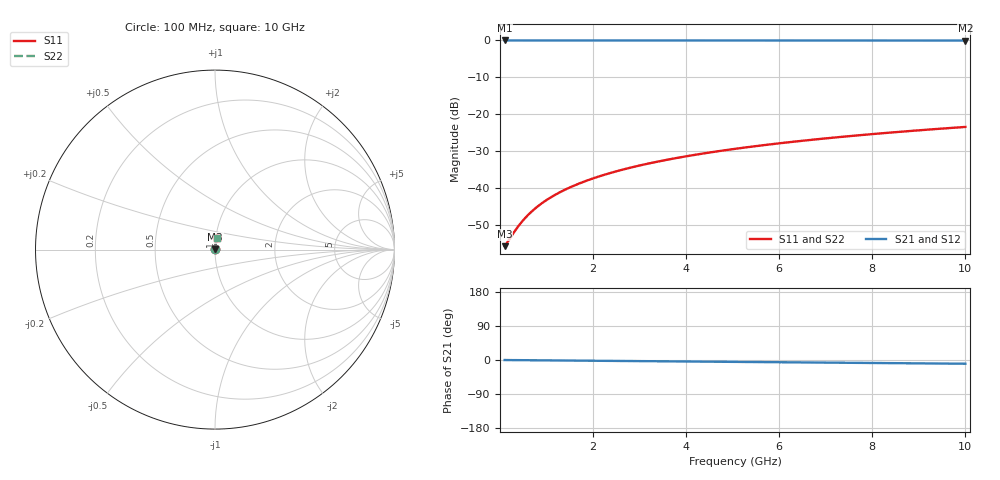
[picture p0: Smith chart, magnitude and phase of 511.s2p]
# Hz S RI R 50.00
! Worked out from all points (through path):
!   100 points, 100 MHz to 10 GHz, reference 50 ohm
!   highest |S21| = -0.01 dB at 100 MHz (marker M1); lowest = 0.0 dB at 10 GHz (marker M2)
!   group delay of S21, straight-line fit = 2.74 ps
!   lowest |S11| = -55.7 dB at 100 MHz (marker M3), VSWR 1.00, Z = 50.2 + j0.0675 ohm
!   |S11| at or under -10 dB: start of sweep to end of sweep
!   |S22| runs from -55.7 to -23.4 dB; largest |S21 - S12| = 0
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1e8  0.00151 0.000673  0.9985 -0.00171  0.9985 -0.00171  0.00151 0.000673
2e8  0.00152 0.00135  0.9985 -0.00342  0.9985 -0.00342  0.00152 0.00135
3e8  0.00153 0.00202  0.9985 -0.00512  0.9985 -0.00512  0.00153 0.00202
4e8  0.00154 0.00269  0.9984 -0.00683  0.9984 -0.00683  0.00154 0.00269
5e8  0.00156 0.00337  0.9984 -0.00854  0.9984 -0.00854  0.00156 0.00337
6e8  0.00158 0.00404  0.9984 -0.0102  0.9984 -0.0102  0.00158 0.00404
7e8  0.0016 0.00471  0.9984 -0.012  0.9984 -0.012  0.0016 0.00471
8e8  0.00162 0.00538  0.9983 -0.0137  0.9983 -0.0137  0.00162 0.00538
1e9  0.00166 0.00673  0.9983 -0.0171  0.9983 -0.0171  0.00166 0.00673
1.2e9  0.00172 0.00807  0.9982 -0.0205  0.9982 -0.0205  0.00172 0.00807
1.5e9  0.00182 0.0101  0.998 -0.0256  0.998 -0.0256  0.00182 0.0101
1.8e9  0.00194 0.0121  0.9979 -0.0308  0.9979 -0.0308  0.00194 0.0121
2.1e9  0.00208 0.0141  0.9977 -0.0359  0.9977 -0.0359  0.00208 0.0141
2.5e9  0.0023 0.0168  0.9973 -0.0427  0.9973 -0.0427  0.0023 0.0168
2.9e9  0.00255 0.0195  0.997 -0.0495  0.997 -0.0495  0.00255 0.0195
3.4e9  0.00292 0.0228  0.9964 -0.0581  0.9964 -0.0581  0.00292 0.0228
4.2e9  0.00363 0.0282  0.9954 -0.0717  0.9954 -0.0717  0.00363 0.0282
5.1e9  0.00461 0.0342  0.9939 -0.0871  0.9939 -0.0871  0.00461 0.0342
5.9e9  0.00563 0.0395  0.9924 -0.1008  0.9924 -0.1008  0.00563 0.0395
6.7e9  0.0068 0.0448  0.9907 -0.1144  0.9907 -0.1144  0.0068 0.0448
8.4e9  0.00977 0.0559  0.9863 -0.1433  0.9863 -0.1433  0.00977 0.0559
1e10  0.0132 0.0663  0.9813 -0.1704  0.9813 -0.1704  0.0132 0.0663
